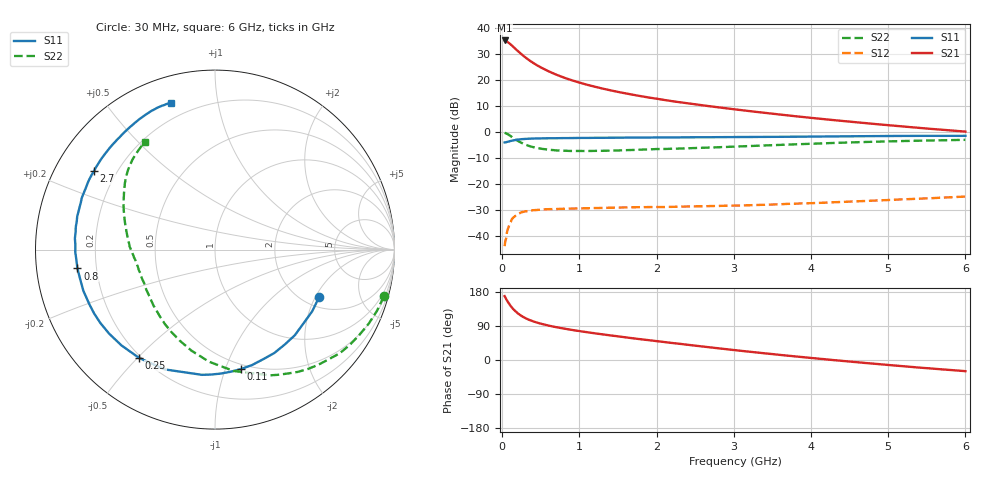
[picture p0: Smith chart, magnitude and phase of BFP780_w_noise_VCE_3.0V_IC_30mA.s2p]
! Infineon Technologies  Discrete & RF Semiconductors
! BFP780
! VCE =  3.0 V,  IC =  30 mA
! Common Emitter S-Parameters:  Jul 2015
# GHz  S  MA  R  50
!  f  S11  S21  S12  S22
! GHz  MAG  ANG  MAG  ANG  MAG  ANG  MAG  ANG
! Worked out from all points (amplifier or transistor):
!   75 points, 30 MHz to 6 GHz, reference 50 ohm
!   highest |S21| = 35.3 dB at 30 MHz (marker M1)
!   |S21| within 3 dB of that: start of sweep to 162.6 MHz
!   unconditionally stable (mu >= 1): 2.19 GHz to end of sweep
!   at 150 MHz: K = 0.09, MSG = 32.6 dB, |S12| = -32.6 dB
!   at 2.3 GHz: K = 1.04, MAG = 18.8 dB, |S12| = -28.6 dB
!   at 6 GHz: K = 1.35, MAG = 8.9 dB, |S12| = -24.7 dB
!   lowest NFmin = 1.09 dB at 450 MHz
!   S11 on the Smith chart (normalised r, x): 30 MHz: 2.41, -2.15; 110 MHz: 0.46, -1.14; 250 MHz: 0.19, -0.51; 800 MHz: 0.13, -0.07; 2.7 GHz: 0.12, +0.29; 6 GHz: 0.12, +0.74
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0.03  0.6375 -24.5  57.97 168.6  0.0065 80.0  0.9762 -15.5
0.05  0.642 -40.0  56.3 160.9  0.0091 69.7  0.9508 -25.7
0.07  0.6564 -53.8  54 154.2  0.0136 68.0  0.9202 -35.1
0.09  0.6673 -66.4  51.21 147.9  0.0164 59.0  0.8806 -43.9
0.11  0.681 -77.6  48.33 142.2  0.0189 54.5  0.8417 -52.4
0.13  0.6917 -87.5  45.54 137.1  0.0219 50.7  0.8005 -59.6
0.15  0.7016 -96.0  42.71 132.6  0.0235 48.1  0.7645 -66.4
0.2  0.7238 -112.8  36.47 123.3  0.0269 39.2  0.6845 -81.2
0.25  0.737 -125.0  31.43 116.1  0.0291 32.9  0.6257 -93.0
0.3  0.7461 -134.4  27.36 110.4  0.0303 29.3  0.5786 -103.0
0.35  0.7533 -141.7  24.1 105.8  0.0308 26.4  0.5438 -111.2
0.45  0.7616 -152.1  19.36 98.7  0.0322 21.7  0.5001 -123.9
0.6  0.7686 -162.7  14.81 90.8  0.0334 17.7  0.4635 -137.6
0.8  0.7737 -172.2  11.21 82.9  0.034 15.2  0.4427 -150.0
1.1  0.7785 178.0  8.164 73.3  0.0347 12.9  0.4363 -162.1
1.5  0.786 168.6  5.958 62.4  0.0358 12.3  0.4477 -172.5
2.1  0.7963 157.1  4.172 47.4  0.0367 11.8  0.4778 176.7
2.7  0.8037 147.0  3.145 33.2  0.0383 12.9  0.5093 166.7
3.1  0.811 140.6  2.659 24.1  0.0393 13.5  0.5369 160.2
4.1  0.8282 126.3  1.83 3.5  0.044 15.1  0.6089 146.1
5.1  0.85 114.8  1.329 -14.8  0.0509 14.2  0.6736 133.8
6  0.855 106.6  1.031 -29.5  0.0583 11.1  0.7159 123.0
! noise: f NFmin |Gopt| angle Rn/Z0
0.45  1.09  0.15  163  0.07
0.9  1.14  0.23  176  0.07
1.5  1.22  0.31  -170  0.07
1.8  1.4  0.36  -164  0.07
2.4  1.56  0.42  -151  0.09
3  1.83  0.47  -139  0.13
3.5  2.38  0.51  -127  0.21
